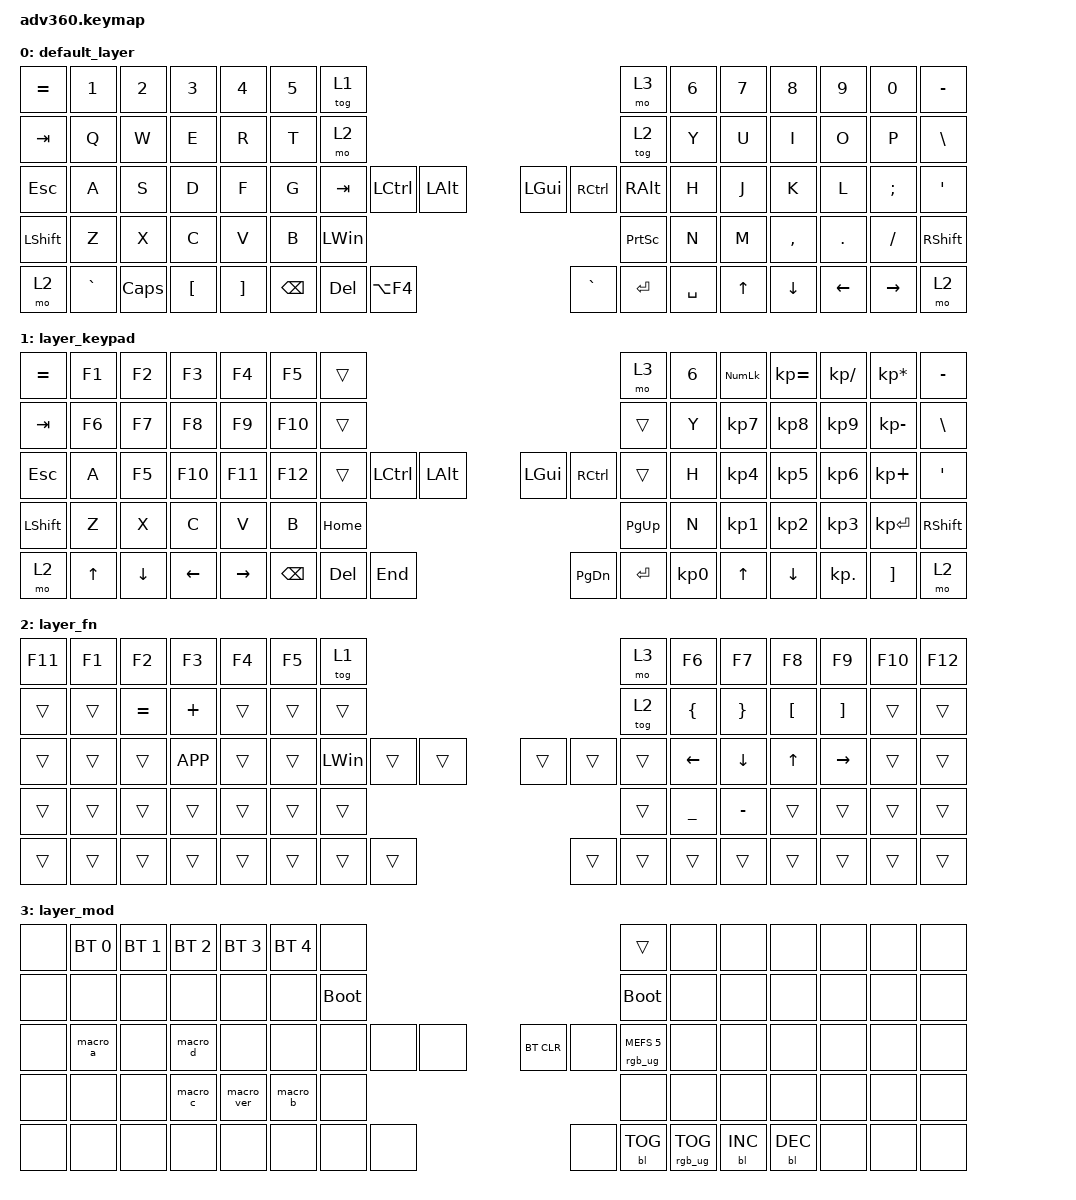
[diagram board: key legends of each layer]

/*
 * Copyright (c) 2020 The ZMK Contributors
 *
 * SPDX-License-Identifier: MIT
 */


/* THIS FILE WAS GENERATED!
 *
 * This file was generated automatically. You may or may not want to
 * edit it directly.
 */

#include <behaviors.dtsi>
#include <dt-bindings/zmk/keys.h>
#include <dt-bindings/zmk/bt.h>
#include <dt-bindings/zmk/rgb.h>
#include <dt-bindings/zmk/backlight.h>

/ {
  behaviors {
    #include "macros.dtsi"
    #include "version.dtsi"

    hm: homerow_mods {
        compatible = "zmk,behavior-hold-tap";
        label = "HOMEROW_MODS";
        #binding-cells = <2>;
        tapping-term-ms = <200>;
        quick_tap_ms = <175>;
        flavor = "tap-preferred";
        bindings = <&kp>, <&kp>;
    };
  };

    keymap {
        compatible = "zmk,keymap";


        default_layer {
            bindings = <
 &kp EQUAL     &kp N1    &kp N2    &kp N3    &kp N4  &kp N5              &tog 1                                                                               &mo 3  &kp N6  &kp N7     &kp N8    &kp N9     &kp N0  &kp MINUS
   &kp TAB      &kp Q     &kp W     &kp E     &kp R   &kp T               &mo 2                                                                              &tog 2   &kp Y   &kp U      &kp I     &kp O      &kp P   &kp BSLH
   &kp ESC      &kp A     &kp S     &kp D     &kp F   &kp G             &kp TAB  &kp LCTRL      &kp LALT                         &kp LGUI  &kp RCTRL  &kp RIGHT_ALT   &kp H   &kp J      &kp K     &kp L   &kp SEMI    &kp SQT
 &kp LSHFT      &kp Z     &kp X     &kp C     &kp V   &kp B                                 &kp LEFT_WIN                  &kp PRINTSCREEN                             &kp N   &kp M  &kp COMMA   &kp DOT   &kp FSLH  &kp RSHFT
     &mo 2  &kp GRAVE  &kp CAPS  &kp LBKT  &kp RBKT                    &kp BSPC    &kp DEL    &kp LA(F4)                        &kp GRAVE  &kp ENTER      &kp SPACE          &kp UP   &kp DOWN  &kp LEFT  &kp RIGHT      &mo 2
            >;
        };

        layer_keypad {
            bindings = <
 &kp EQUAL  &kp F1    &kp F2    &kp F3     &kp F4   &kp F5              &trans                                                                 &mo 3  &kp N6  &kp KP_NUM  &kp KP_EQUAL  &kp KP_DIVIDE  &kp KP_MULTIPLY  &kp MINUS
   &kp TAB  &kp F6    &kp F7    &kp F8     &kp F9  &kp F10              &trans                                                                &trans   &kp Y   &kp KP_N7     &kp KP_N8      &kp KP_N9     &kp KP_MINUS   &kp BSLH
   &kp ESC   &kp A    &kp F5   &kp F10    &kp F11  &kp F12              &trans  &kp LCTRL  &kp LALT                   &kp LGUI  &kp RCTRL     &trans   &kp H   &kp KP_N4     &kp KP_N5      &kp KP_N6      &kp KP_PLUS    &kp SQT
 &kp LSHFT   &kp Z     &kp X     &kp C      &kp V    &kp B                                 &kp HOME                  &kp PG_UP                         &kp N   &kp KP_N1     &kp KP_N2      &kp KP_N3     &kp KP_ENTER  &kp RSHFT
     &mo 2  &kp UP  &kp DOWN  &kp LEFT  &kp RIGHT                     &kp BSPC    &kp DEL   &kp END                  &kp PG_DN  &kp ENTER  &kp KP_N0              &kp UP      &kp DOWN     &kp KP_DOT         &kp RBKT      &mo 2
            >;
        };

        layer_fn {
            bindings = <
 &kp F11  &kp F1     &kp F2     &kp F3  &kp F4  &kp F5                  &tog 1                                                   &mo 3          &kp F6           &kp F7            &kp F8             &kp F9  &kp F10  &kp F12
  &trans  &trans  &kp EQUAL   &kp PLUS  &trans  &trans                  &trans                                                  &tog 2  &kp LEFT_BRACE  &kp RIGHT_BRACE  &kp LEFT_BRACKET  &kp RIGHT_BRACKET   &trans   &trans
  &trans  &trans     &trans  &kp K_APP  &trans  &trans            &kp LEFT_WIN  &trans  &trans                  &trans  &trans  &trans        &kp LEFT         &kp DOWN            &kp UP          &kp RIGHT   &trans   &trans
  &trans  &trans     &trans     &trans  &trans  &trans                                  &trans                  &trans                  &kp UNDERSCORE        &kp MINUS            &trans             &trans   &trans   &trans
  &trans  &trans     &trans     &trans  &trans                          &trans  &trans  &trans                  &trans  &trans  &trans                           &trans            &trans             &trans   &trans   &trans
            >;
        };

        layer_mod {
            bindings = <
  &none  &bt BT_SEL 0  &bt BT_SEL 1  &bt BT_SEL 2  &bt BT_SEL 3  &bt BT_SEL 4                  &none                                                                          &trans   &none       &none       &none   &none   &none   &none
  &none         &none         &none         &none         &none         &none            &bootloader                                                                     &bootloader   &none       &none       &none   &none   &none   &none
  &none      &macro_a         &none      &macro_d         &none         &none                  &none   &none   &none                  &bt BT_CLR       &none  &rgb_ug RGB_MEFS_CMD 5   &none       &none       &none   &none   &none   &none
  &none         &none         &none      &macro_c    &macro_ver      &macro_b                                  &none                       &none                                       &none       &none       &none   &none   &none   &none
  &none         &none         &none         &none         &none                                &none   &none   &none                       &none  &bl BL_TOG         &rgb_ug RGB_TOG          &bl BL_INC  &bl BL_DEC   &none   &none   &none
            >;
        };

    };
};
